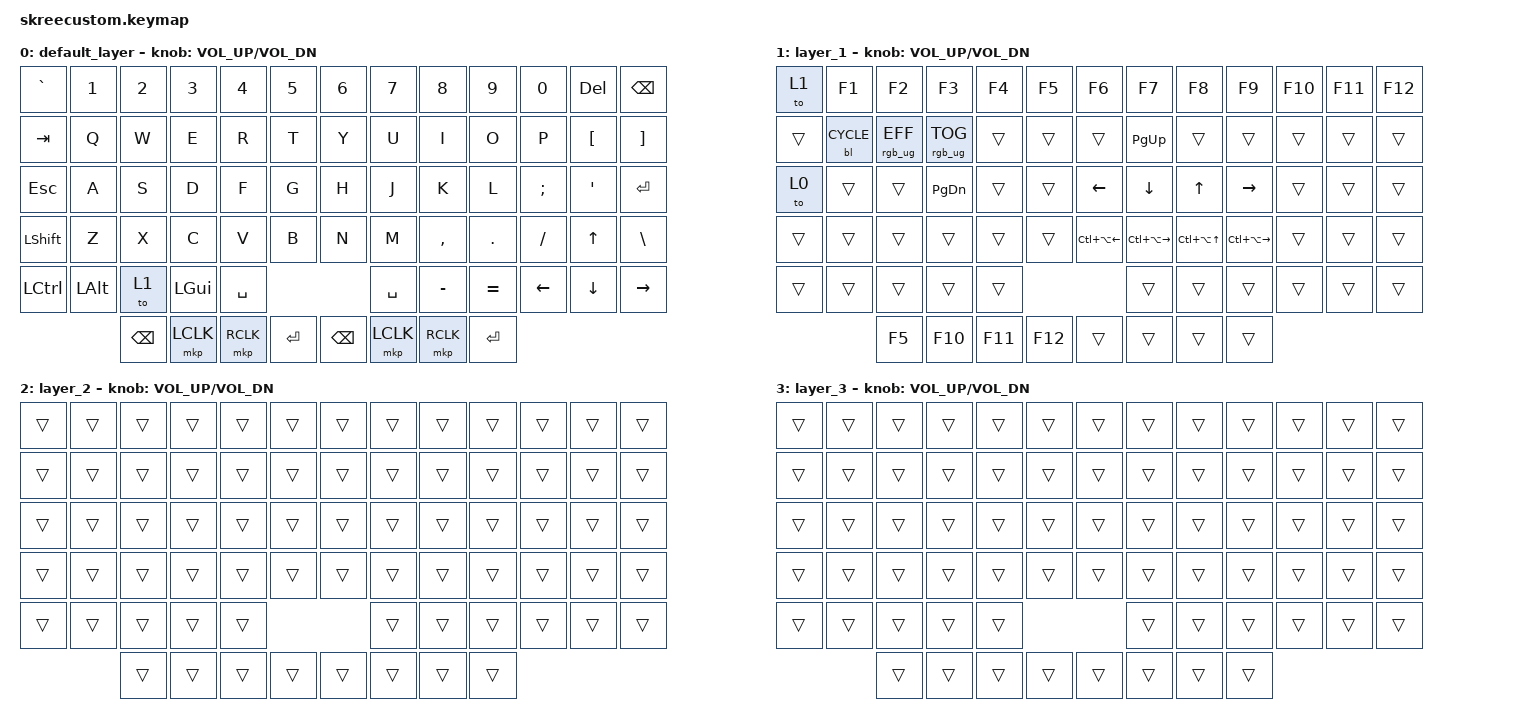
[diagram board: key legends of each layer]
/*
 * Copyright (c) 2020 The ZMK Contributors
 *
 * SPDX-License-Identifier: MIT
 */
//#include <behaviors/mouse_keys.dtsi>

#include <input/processors.dtsi>
#include <dt-bindings/zmk/input_transform.h>
#include <behaviors.dtsi>
#include <dt-bindings/zmk/backlight.h>
#include <dt-bindings/zmk/keys.h>
#include <dt-bindings/zmk/pointing.h>
#include <dt-bindings/zmk/rgb.h>

/ {
    keymap {
        compatible = "zmk,keymap";

        default_layer {
            bindings = <
&kp GRAVE   &kp N1    &kp N2         &kp N3     &kp N4     &kp N5       &kp N6         &kp N7     &kp N8     &kp N9     &kp N0          &kp DELETE      &kp BACKSPACE
&kp TAB     &kp Q     &kp W          &kp E      &kp R      &kp T        &kp Y          &kp U      &kp I      &kp O      &kp P           &kp LBKT        &kp RBKT
&kp ESCAPE  &kp A     &kp S          &kp D      &kp F      &kp G        &kp H          &kp J      &kp K      &kp L      &kp SEMI        &kp SQT         &kp RET
&kp LSHFT   &kp Z     &kp X          &kp C      &kp V      &kp B        &kp N          &kp M      &kp COMMA  &kp DOT    &kp FSLH        &kp UP          &kp BSLH
&kp LCTRL   &kp LALT  &to 1          &kp LGUI   &kp SPACE                              &kp SPACE  &kp MINUS  &kp EQUAL  &kp LEFT_ARROW  &kp DOWN_ARROW  &kp RIGHT_ARROW
                      &kp BACKSPACE  &mkp LCLK  &mkp RCLK  &kp ENTER    &kp BACKSPACE  &mkp LCLK  &mkp RCLK  &kp ENTER
            >;

            sensor-bindings = <&inc_dec_kp C_VOL_UP C_VOL_DN>;
        };

        layer_1 {
            bindings = <
&to 1   &kp F1        &kp F2           &kp F3           &kp F4   &kp F5     &kp F6            &kp F7             &kp F8                &kp F9             &kp F10  &kp F11  &kp F12
&trans  &bl BL_CYCLE  &rgb_ug RGB_EFF  &rgb_ug RGB_TOG  &trans   &trans     &trans            &kp PG_UP          &trans                &trans             &trans   &trans   &trans
&to 0   &trans        &trans           &kp PAGE_DOWN    &trans   &trans     &kp LEFT_ARROW    &kp DOWN_ARROW     &kp UP_ARROW          &kp RIGHT          &trans   &trans   &trans
&trans  &trans        &trans           &trans           &trans   &trans     &kp LC(LA(LEFT))  &kp LC(LA(RIGHT))  &kp LC(LA(UP_ARROW))  &kp LC(LA(RIGHT))  &trans   &trans   &trans
&trans  &trans        &trans           &trans           &trans                                &trans             &trans                &trans             &trans   &trans   &trans
                      &kp F5           &kp F10          &kp F11  &kp F12    &trans            &trans             &trans                &trans
            >;

            sensor-bindings = <&inc_dec_kp C_VOL_UP C_VOL_DN>;
        };

        layer_2 {
            bindings = <
&trans  &trans  &trans  &trans  &trans  &trans    &trans  &trans  &trans  &trans  &trans  &trans  &trans
&trans  &trans  &trans  &trans  &trans  &trans    &trans  &trans  &trans  &trans  &trans  &trans  &trans
&trans  &trans  &trans  &trans  &trans  &trans    &trans  &trans  &trans  &trans  &trans  &trans  &trans
&trans  &trans  &trans  &trans  &trans  &trans    &trans  &trans  &trans  &trans  &trans  &trans  &trans
&trans  &trans  &trans  &trans  &trans                    &trans  &trans  &trans  &trans  &trans  &trans
                &trans  &trans  &trans  &trans    &trans  &trans  &trans  &trans
            >;

            sensor-bindings = <&inc_dec_kp C_VOL_UP C_VOL_DN>;
        };

        layer_3 {
            bindings = <
&trans  &trans  &trans  &trans  &trans  &trans    &trans  &trans  &trans  &trans  &trans  &trans  &trans
&trans  &trans  &trans  &trans  &trans  &trans    &trans  &trans  &trans  &trans  &trans  &trans  &trans
&trans  &trans  &trans  &trans  &trans  &trans    &trans  &trans  &trans  &trans  &trans  &trans  &trans
&trans  &trans  &trans  &trans  &trans  &trans    &trans  &trans  &trans  &trans  &trans  &trans  &trans
&trans  &trans  &trans  &trans  &trans                    &trans  &trans  &trans  &trans  &trans  &trans
                &trans  &trans  &trans  &trans    &trans  &trans  &trans  &trans
            >;

            sensor-bindings = <&inc_dec_kp C_VOL_UP C_VOL_DN>;
        };
    };
};

// //right hand trackball overrides
// &trackball_peripheral_listener {
//     input-processors =
//         <&zip_xy_transform INPUT_TRANSFORM_XY_SWAP>,//this gets it to the default installation orientation
//         <&zip_temp_layer 3 500>;//activate layer 3 within 500ms of the trackball moving
// };
// //left hand trackball overrides
// &trackball_central_listener {
//     input-processors = 
//         <&zip_xy_transform INPUT_TRANSFORM_XY_SWAP>,//this gets it to the default installation orientation
//         <&zip_xy_scaler 1 3>,//multiply sensitivity by 1, divide by 3 (make it slower for scrolling)
//         <&zip_xy_to_scroll_mapper>,//make this trackball output scrolling events by default instead of cursor movement
//         <&zip_scroll_transform INPUT_TRANSFORM_Y_INVERT>;//invert vertical scrolling so that the view moves in the same direction as the top of the trackball.
// };
